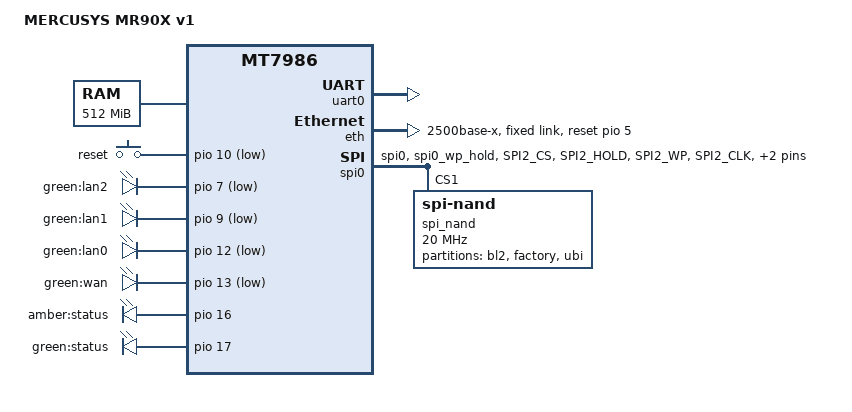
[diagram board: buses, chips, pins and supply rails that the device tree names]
// SPDX-License-Identifier: GPL-2.0
/*
 * Copyright (c) 2024
 * Author: Mikhail Zhilkin <csharper2005@gmail.com>
 */

/dts-v1/;
#include "mt7986.dtsi"
#include <dt-bindings/gpio/gpio.h>
#include <dt-bindings/input/linux-event-codes.h>

/ {
	#address-cells = <1>;
	#size-cells = <1>;
	model = "MERCUSYS MR90X v1";
	compatible = "mediatek,mt7986", "mediatek,mt7986-rfb";

	chosen {
		stdout-path = &uart0;
		tick-timer = &timer0;
	};

	memory@40000000 {
		device_type = "memory";
		reg = <0x40000000 0x20000000>;
	};

	keys {
		compatible = "gpio-keys";

		reset {
			label = "reset";
			linux,code = <KEY_RESTART>;
			gpios = <&pio 10 GPIO_ACTIVE_LOW>;
		};
	};

	leds {
		compatible = "gpio-leds";

		led-0 {
			label = "green:lan2";
			gpios = <&pio 7 GPIO_ACTIVE_LOW>;
		};

		led-1 {
			label = "green:lan1";
			gpios = <&pio 9 GPIO_ACTIVE_LOW>;
		};

		led-2 {
			label = "green:lan0";
			gpios = <&pio 12 GPIO_ACTIVE_LOW>;
		};

		led-3 {
			label = "green:wan";
			gpios = <&pio 13 GPIO_ACTIVE_LOW>;
		};

		led-4 {
			label = "amber:status";
			gpios = <&pio 16 GPIO_ACTIVE_HIGH>;
		};

		led_status_green: led-5 {
			label = "green:status";
			gpios = <&pio 17 GPIO_ACTIVE_HIGH>;
		};
	};
};

&uart0 {
	status = "okay";
};

&uart1 {
	pinctrl-names = "default";
	pinctrl-0 = <&uart1_pins>;
	status = "disabled";
};

&eth {
	status = "okay";
	mediatek,gmac-id = <0>;
	phy-mode = "2500base-x";
	mediatek,switch = "mt7531";
	reset-gpios = <&pio 5 GPIO_ACTIVE_HIGH>;

	fixed-link {
		speed = <2500>;
		full-duplex;
	};
};

&pio {
	spi_flash_pins: spi0-pins-func-1 {
		mux {
			function = "flash";
			groups = "spi0", "spi0_wp_hold";
		};

		conf-pu {
			pins = "SPI2_CS", "SPI2_HOLD", "SPI2_WP";
			drive-strength = <MTK_DRIVE_8mA>;
			bias-pull-up = <MTK_PUPD_SET_R1R0_00>;
		};

		conf-pd {
			pins = "SPI2_CLK", "SPI2_MOSI", "SPI2_MISO";
			drive-strength = <MTK_DRIVE_8mA>;
			bias-pull-down = <MTK_PUPD_SET_R1R0_00>;
		};
	};

	spic_pins: spi1-pins-func-1 {
		mux {
			function = "spi";
			groups = "spi1_2";
		};
	};

	uart1_pins: spi1-pins-func-3 {
		mux {
			function = "uart";
			groups = "uart1_2";
		};
	};
};

&spi0 {
	#address-cells = <1>;
	#size-cells = <0>;
	pinctrl-names = "default";
	pinctrl-0 = <&spi_flash_pins>;
	status = "okay";
	must_tx;
	enhance_timing;
	dma_ext;
	ipm_design;
	tick_dly = <2>;
	sample_sel = <0>;

	spi_nand@1 {
		compatible = "spi-nand";
		reg = <1>;
		spi-max-frequency = <20000000>;

		partitions {
			compatible = "fixed-partitions";
			#address-cells = <1>;
			#size-cells = <1>;

			partition@0 {
				reg = <0x0 0x100000>;
				label = "bl2";
			};

			partition@100000 {
				reg = <0x100000 0x100000>;
				label = "factory";
			};

			partition@200000 {
				reg = <0x200000 0x7e00000>;
				label = "ubi";
			};
		};
	};
};

&watchdog {
	status = "disabled";
};
